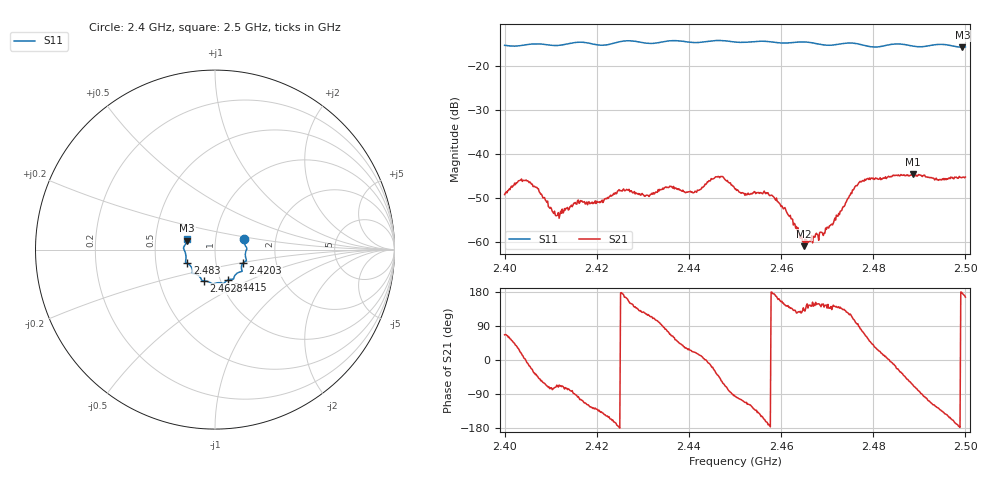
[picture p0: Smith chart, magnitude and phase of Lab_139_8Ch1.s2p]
# Hz S RI R 50
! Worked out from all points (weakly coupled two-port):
!   601 points, 2.4 GHz to 2.5 GHz, reference 50 ohm
!   highest |S21| = -44.61 dB at 2.4887 GHz (marker M1); lowest = -60.9 dB at 2.465 GHz (marker M2)
!   lowest |S11| = -15.7 dB at 2.4993 GHz (marker M3), VSWR 1.39, Z = 36.4 + j3.67 ohm
!   |S11| at or under -10 dB: start of sweep to end of sweep
!   S12 and S22 are empty: the file has one direction only
!   S11 on the Smith chart (normalised r, x): 2.4 GHz: 1.38, +0.16; 2.4203 GHz: 1.35, -0.21; 2.4415 GHz: 1.09, -0.38; 2.4628 GHz: 0.83, -0.30; 2.483 GHz: 0.73, -0.11; 2.5 GHz: 0.73, +0.09
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2.4e9  0.1619 0.0565  0.00138 0.00317  0 0  0 0
2.405e9  0.1744 0.0133  0.00491 -0.000723  0 0  0 0
2.4115e9  0.1687 -0.0261  0.000706 -0.00189  0 0  0 0
2.416667e9  0.1753 -0.0619  -0.000769 -0.00279  0 0  0 0
2.420333e9  0.1561 -0.0748  -0.00199 -0.00202  0 0  0 0
2.425333e9  0.1501 -0.1164  -0.00382 0.000153  0 0  0 0
2.430833e9  0.1257 -0.1305  -0.00177 0.00291  0 0  0 0
2.433333e9  0.1086 -0.1481  -0.000755 0.00387  0 0  0 0
2.4415e9  0.0732 -0.169  0.00352 0.00122  0 0  0 0
2.446333e9  0.0481 -0.1887  0.00423 -0.00362  0 0  0 0
2.45e9  0.0298 -0.1846  -0.000402 -0.00399  0 0  0 0
2.457667e9  -0.0217 -0.1869  -0.00337 -0.000206  0 0  0 0
2.462833e9  -0.0623 -0.1743  -0.00106 0.00124  0 0  0 0
2.465e9  -0.0715 -0.1729  -0.000592 0.000673  0 0  0 0
2.466667e9  -0.0753 -0.1673  -0.000933 0.000717  0 0  0 0
2.470833e9  -0.1 -0.14  -0.00123 0.000988  0 0  0 0
2.476667e9  -0.1254 -0.1266  -0.000449 0.00449  0 0  0 0
2.483e9  -0.1542 -0.0764  0.00538 0.000469  0 0  0 0
2.483333e9  -0.1564 -0.0751  0.00559 0.000168  0 0  0 0
2.488667e9  -0.1616 -0.0455  0.00232 -0.0054  0 0  0 0
2.499333e9  -0.1557 0.0492  -0.0054 0.000374  0 0  0 0
2.5e9  -0.1537 0.0579  -0.0053 0.00133  0 0  0 0
